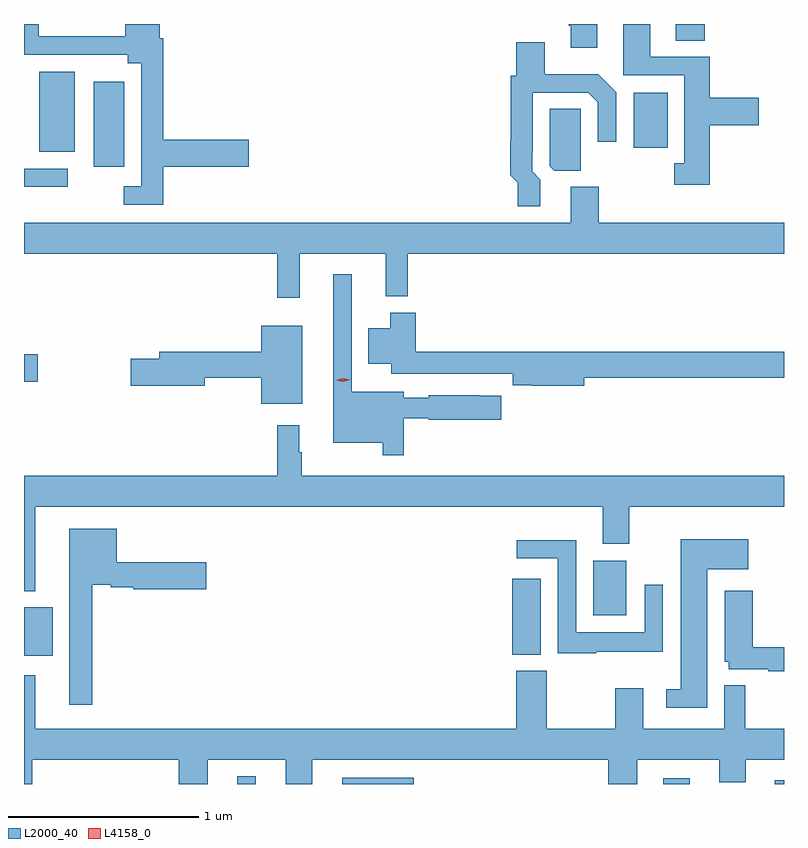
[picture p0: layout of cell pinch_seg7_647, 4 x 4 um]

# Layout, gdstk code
import gdstk
lib = gdstk.Library(unit=1e-6, precision=1e-09)
def R(c, l, rs):  # rectangles x0, y0, x1, y1
    for r in rs: c.add(gdstk.rectangle(r[:2], r[2:], *l))
def P(c, l, *ps):  # polygons
    for p in ps: c.add(gdstk.Polygon(p, *l))
L2000_40 = (2000, 40)
L4158_0 = (4158, 0)

pinch_seg7_647 = lib.new_cell('pinch_seg7_647')
R(pinch_seg7_647, L2000_40, [(230.498,1013.809,230.596,1013.851), (231.05,1013.809,231.427,1013.842), (232.739,1013.809,232.879,1013.839), (233.327,1013.809,233.375,1013.83), (229.375,1014.485,229.525,1014.739), (231.944,1014.49,232.096,1014.889), (232.37,1014.698,232.546,1014.985), (229.375,1015.925,229.447,1016.072), (229.375,1016.952,229.606,1017.048), (229.742,1017.057,229.903,1017.505), (229.454,1017.137,229.642,1017.559), (232.583,1017.158,232.762,1017.448), (232.805,1017.721,232.958,1017.809)])
P(pinch_seg7_647, L2000_40, [(230.108,1017.058),(230.557,1017.058),(230.557,1017.2),(230.108,1017.2),(230.108,1017.734),(230.089,1017.734),(230.089,1017.809),(229.907,1017.809),(229.907,1017.744),(229.453,1017.744),(229.453,1017.809),(229.375,1017.809),(229.375,1017.648),(229.922,1017.648),(229.922,1017.602),(229.992,1017.602),(229.992,1016.955),(229.899,1016.955),(229.899,1016.859),(230.108,1016.859)],
  [(232.393,1017.809),(232.241,1017.809),(232.241,1017.799),(232.253,1017.799),(232.253,1017.684),(232.393,1017.684)],
  [(232.985,1017.275),(233.242,1017.275),(233.242,1017.422),(232.985,1017.422),(232.985,1017.636),(232.672,1017.636),(232.672,1017.809),(232.529,1017.809),(232.529,1017.54),(232.85,1017.54),(232.85,1017.077),(232.797,1017.077),(232.797,1016.964),(232.985,1016.964)],
  [(232.093,1016.99),(232.05,1017.033),(232.05,1017.133),(232.053,1017.133),(232.053,1017.447),(232.344,1017.447),(232.395,1017.396),(232.395,1017.189),(232.491,1017.189),(232.491,1017.45),(232.397,1017.544),(232.117,1017.544),(232.117,1017.712),(231.965,1017.712),(231.965,1017.537),(231.937,1017.537),(231.937,1017.194),(231.935,1017.194),(231.935,1017.012),(231.973,1016.973),(231.973,1016.85),(232.093,1016.85)],
  [(232.306,1017.251),(232.305,1017.251),(232.305,1017.362),(232.143,1017.362),(232.143,1017.06),(232.167,1017.037),(232.306,1017.037)],
  [(230.825,1016.6),(231.278,1016.6),(231.278,1016.375),(231.395,1016.375),(231.395,1016.6),(233.375,1016.6),(233.375,1016.764),(232.401,1016.764),(232.401,1016.952),(232.253,1016.952),(232.253,1016.764),(229.375,1016.764),(229.375,1016.6),(230.707,1016.6),(230.707,1016.367),(230.825,1016.367)],
  [(231.373,1015.734),(231.504,1015.734),(231.504,1015.726),(231.887,1015.726),(231.887,1015.853),(231.776,1015.853),(231.776,1015.855),(231.504,1015.855),(231.504,1015.842),(231.373,1015.842),(231.373,1015.873),(231.099,1015.873),(231.099,1016.491),(231.002,1016.491),(231.002,1015.604),(231.264,1015.604),(231.264,1015.539),(231.373,1015.539)],
  [(232.324,1015.948),(233.375,1015.948),(233.375,1016.084),(231.437,1016.084),(231.437,1016.29),(231.302,1016.29),(231.302,1016.209),(231.188,1016.209),(231.188,1016.021),(231.308,1016.021),(231.308,1015.968),(231.947,1015.968),(231.947,1015.908),(232.048,1015.908),(232.048,1015.906),(232.324,1015.906)],
  [(230.839,1016.221),(230.624,1016.221),(230.624,1016.084),(230.087,1016.084),(230.087,1016.048),(229.938,1016.048),(229.938,1015.906),(230.326,1015.906),(230.326,1015.948),(230.624,1015.948),(230.624,1015.811),(230.839,1015.811)],
  [(229.435,1015.268),(232.421,1015.268),(232.421,1015.074),(232.561,1015.074),(232.561,1015.268),(233.375,1015.268),(233.375,1015.432),(230.836,1015.432),(230.836,1015.556),(230.824,1015.556),(230.824,1015.696),(230.707,1015.696),(230.707,1015.432),(229.375,1015.432),(229.375,1014.824),(229.435,1014.824)],
  [(229.735,1014.857),(229.832,1014.857),(229.832,1014.845),(229.95,1014.845),(229.95,1014.833),(230.335,1014.833),(230.335,1014.975),(229.864,1014.975),(229.864,1015.153),(229.613,1015.153),(229.613,1014.225),(229.735,1014.225)],
  [(232.972,1014.938),(233.188,1014.938),(233.188,1015.096),(232.832,1015.096),(232.832,1014.308),(232.755,1014.308),(232.755,1014.21),(232.972,1014.21)],
  [(232.388,1014.506),(232.737,1014.506),(232.737,1014.859),(232.641,1014.859),(232.641,1014.607),(232.281,1014.607),(232.281,1015.093),(231.969,1015.093),(231.969,1014.996),(232.185,1014.996),(232.185,1014.496),(232.388,1014.496)],
  [(233.375,1014.53),(233.21,1014.53),(233.21,1014.826),(233.063,1014.826),(233.063,1014.453),(233.084,1014.453),(233.084,1014.414),(233.293,1014.414),(233.293,1014.402),(233.375,1014.402)],
  [(229.418,1013.936),(230.189,1013.936),(230.189,1013.809),(230.341,1013.809),(230.341,1013.936),(230.753,1013.936),(230.753,1013.809),(230.893,1013.809),(230.893,1013.936),(232.451,1013.936),(232.451,1013.809),(232.603,1013.809),(232.603,1013.936),(233.033,1013.936),(233.033,1013.819),(233.173,1013.819),(233.173,1013.936),(233.375,1013.936),(233.375,1014.1),(233.17,1014.1),(233.17,1014.329),(233.06,1014.329),(233.06,1014.1),(232.633,1014.1),(232.633,1014.313),(232.486,1014.313),(232.486,1014.1),(232.125,1014.1),(232.125,1014.405),(231.965,1014.405),(231.965,1014.1),(229.435,1014.1),(229.435,1014.382),(229.375,1014.382),(229.375,1013.809),(229.418,1013.809)])
P(pinch_seg7_647, L4158_0, [(231.054,1015.925),(231.018,1015.933),(231.018,1015.933),(231.018,1015.934),(231.053,1015.945),(231.089,1015.936),(231.089,1015.936),(231.089,1015.936)])

lib.write_gds('pinch_seg7_647.gds')
